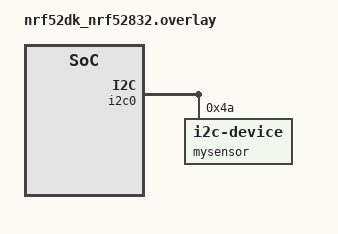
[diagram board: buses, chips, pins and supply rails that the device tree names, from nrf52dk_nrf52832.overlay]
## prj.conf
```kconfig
CONFIG_LOG=y
CONFIG_LOG_BACKEND_UART=n
CONFIG_LOG_BACKEND_RTT=y

CONFIG_I2C=y
CONFIG_CBPRINTF_FP_SUPPORT=y
```

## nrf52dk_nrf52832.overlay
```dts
&spi1{
    status = "disabled";
};

&spi0{
    status = "disabled";
};

&i2c0 {  
    mysensor: mysensor@4a{
        compatible = "i2c-device";
        status = "okay";
        reg = < 0x4a >;
    };
};
```

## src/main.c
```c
#include <stdio.h>
#include "zephyr/kernel.h"
#include "zephyr/logging/log.h"
#include <zephyr/drivers/i2c.h>
#include <zephyr/sys/printk.h>

#define STTS751_TEMP_HIGH_REG		(0x00)
#define STTS751_TEMP_LOW_REG		(0x02)
#define STTS751_CONFIG_REG			(0x03)

LOG_MODULE_REGISTER(main, LOG_LEVEL_DBG);
#define I2C1_NODE DT_NODELABEL(mysensor)

static const struct i2c_dt_spec dev_i2c = I2C_DT_SPEC_GET(I2C1_NODE);

int main(void)
{
	if(device_is_ready(dev_i2c.bus)){
		LOG_ERR("I2C bus is not ready");
		return -1;
	}

	uint8_t config[2] = {STTS751_CONFIG_REG, 0x8C};
	int ret;
	ret = i2c_write_dt(&dev_i2c, config, sizeof(config));
	if(ret != 0){
		LOG_ERR("Failed to write in the I2C Bus");
		return -1;
	}

	uint8_t temp_reading[2] = {0};
	uint8_t sensor_regs[2] = {STTS751_TEMP_LOW_REG,STTS751_TEMP_HIGH_REG};
	ret = i2c_write_read_dt(&dev_i2c, &sensor_regs[0],1,&temp_reading[0],1);
	if(ret != 0){
		LOG_ERR("Failed write/read in the I2C Bus");
		return -1;
	}	
	ret = i2c_write_read_dt(&dev_i2c, &sensor_regs[1], 1, &temp_reading[1], 1);
	if(ret != 0){
		LOG_ERR("Failed write/read in the I2C Bus");
		return -1;
	}	

	while(1){
		int temp = ((int)temp_reading[1] * 256 + ((int)temp_reading[0] & 0xF0)) / 16;
		if(temp > 2047)
		{
			temp -= 4096;
		}

		// Convert to engineering units 
		double cTemp = temp * 0.0625;
		double fTemp = cTemp * 1.8 + 32;

		//Print reading to console  
		printk("Temperature in Celsius : %.2f C \n", cTemp);
		printk("Temperature in Fahrenheit : %.2f F \n", fTemp);
	}
	
}
```
